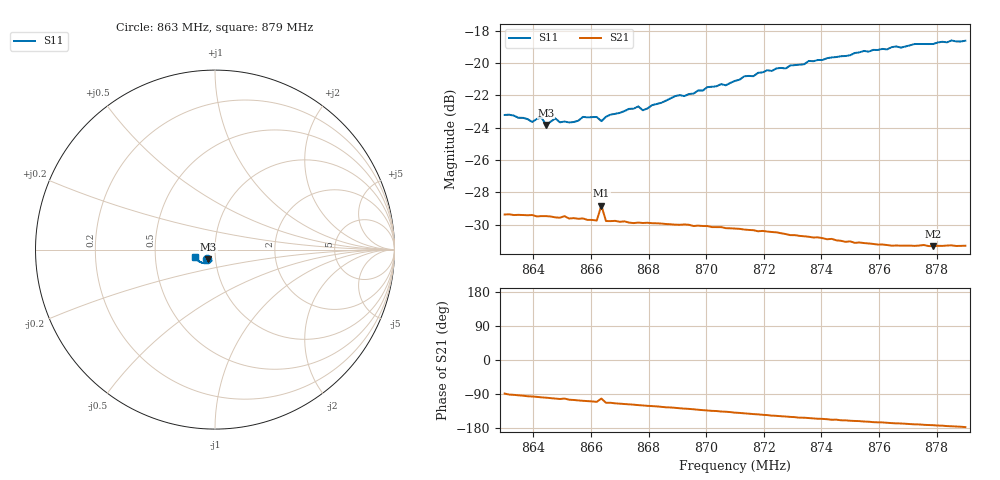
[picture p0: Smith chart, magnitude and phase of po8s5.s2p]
# HZ S RI R 50
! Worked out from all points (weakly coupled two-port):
!   101 points, 863 MHz to 879 MHz, reference 50 ohm
!   highest |S21| = -28.82 dB at 866.36 MHz (marker M1); lowest = -31.3 dB at 877.88 MHz (marker M2)
!   lowest |S11| = -23.8 dB at 864.44 MHz (marker M3), VSWR 1.14, Z = 46.2 - j4.91 ohm
!   |S11| at or under -10 dB: start of sweep to end of sweep
!   S12 and S22 are empty: the file has one direction only
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8.63e8  -0.0424 -0.0545  0.000818 -0.034  0 0  0 0
8.6396e8  -0.0384 -0.0533  -0.00372 -0.0336  0 0  0 0
8.6428e8  -0.0385 -0.0558  -0.005 -0.0332  0 0  0 0
8.6444e8  -0.0365 -0.0529  -0.00551 -0.0331  0 0  0 0
8.6476e8  -0.038 -0.0556  -0.00676 -0.0326  0 0  0 0
8.6492e8  -0.036 -0.0547  -0.00743 -0.0324  0 0  0 0
8.6524e8  -0.0358 -0.0548  -0.00844 -0.0319  0 0  0 0
8.6572e8  -0.0345 -0.0587  -0.01 -0.0315  0 0  0 0
8.662e8  -0.0347 -0.0585  -0.0114 -0.0305  0 0  0 0
8.6636e8  -0.0197 -0.063  -0.00737 -0.0355  0 0  0 0
8.6652e8  -0.0328 -0.0597  -0.0126 -0.0299  0 0  0 0
8.6764e8  -0.0354 -0.0643  -0.0156 -0.028  0 0  0 0
8.678e8  -0.0341 -0.0627  -0.016 -0.0277  0 0  0 0
8.6844e8  -0.0364 -0.0659  -0.0176 -0.0265  0 0  0 0
8.6892e8  -0.0377 -0.0693  -0.0187 -0.0255  0 0  0 0
8.6924e8  -0.0384 -0.069  -0.0196 -0.0248  0 0  0 0
8.71e8  -0.0474 -0.0741  -0.0232 -0.0202  0 0  0 0
8.7212e8  -0.0571 -0.0758  -0.0248 -0.0171  0 0  0 0
8.7372e8  -0.0682 -0.0748  -0.026 -0.0126  0 0  0 0
8.7644e8  -0.093 -0.0621  -0.0265 -0.00636  0 0  0 0
8.7788e8  -0.103 -0.0498  -0.0269 -0.00376  0 0  0 0
8.79e8  -0.1105 -0.0389  -0.0272 -0.0014  0 0  0 0
